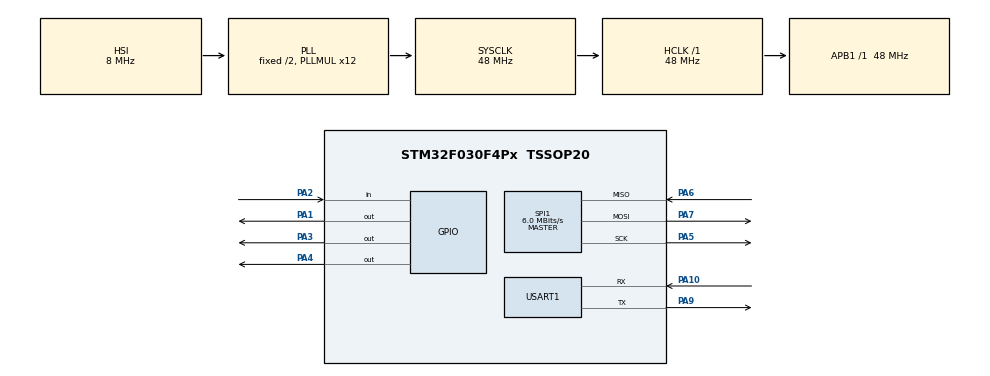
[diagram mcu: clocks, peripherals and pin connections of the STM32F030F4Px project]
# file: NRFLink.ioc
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Mcu.Family=STM32F0
Mcu.Name=STM32F030F4Px
Mcu.Package=TSSOP20
NVIC.USART1_IRQn=true\:2\:0\:true\:false\:true\:true\:true
PA1.GPIO_PuPd=GPIO_PULLUP
PA1.GPIO_Speed=GPIO_SPEED_FREQ_MEDIUM
PA1.PinState=GPIO_PIN_SET
PA1.Signal=GPIO_Output
PA10.Mode=Asynchronous
PA10.Signal=USART1_RX
PA13.Mode=Serial_Wire
PA13.Signal=SYS_SWDIO
PA14.Mode=Serial_Wire
PA14.Signal=SYS_SWCLK
PA2.GPIO_PuPd=GPIO_PULLUP
PA2.Signal=GPIO_Input
PA3.GPIO_ModeDefaultOutputPP=GPIO_MODE_OUTPUT_PP
PA3.GPIO_PuPd=GPIO_NOPULL
PA3.GPIO_Speed=GPIO_SPEED_FREQ_HIGH
PA3.PinState=GPIO_PIN_SET
PA3.Signal=GPIO_Output
PA4.GPIO_ModeDefaultOutputPP=GPIO_MODE_OUTPUT_PP
PA4.GPIO_PuPd=GPIO_NOPULL
PA4.GPIO_Speed=GPIO_SPEED_FREQ_HIGH
PA4.PinState=GPIO_PIN_SET
PA4.Signal=GPIO_Output
PA5.Mode=Full_Duplex_Master
PA5.Signal=SPI1_SCK
PA6.Mode=Full_Duplex_Master
PA6.Signal=SPI1_MISO
PA7.Mode=Full_Duplex_Master
PA7.Signal=SPI1_MOSI
PA9.Mode=Asynchronous
PA9.Signal=USART1_TX
ProjectManager.HeapSize=0x200
ProjectManager.StackSize=0x400
ProjectManager.TargetToolchain=MDK-ARM V5
RCC.AHBFreq_Value=48000000
RCC.APB1Freq_Value=48000000
RCC.APB1TimFreq_Value=48000000
RCC.HCLKFreq_Value=48000000
RCC.PLLMUL=RCC_PLL_MUL12
RCC.SYSCLKFreq_VALUE=48000000
RCC.SYSCLKSource=RCC_SYSCLKSOURCE_PLLCLK
SPI1.BaudRatePrescaler=SPI_BAUDRATEPRESCALER_8
SPI1.CRCCalculation=SPI_CRCCALCULATION_DISABLE
SPI1.CalculateBaudRate=6.0 MBits/s
SPI1.DataSize=SPI_DATASIZE_8BIT
SPI1.Direction=SPI_DIRECTION_2LINES
SPI1.Mode=SPI_MODE_MASTER
SPI1.VirtualType=VM_MASTER
USART1.VirtualMode-Asynchronous=VM_ASYNC
board=custom

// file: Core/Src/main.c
/* USER CODE BEGIN Header */
/**
  ******************************************************************************
  * @file           : main.c
  * @brief          : Main program body
  ******************************************************************************
  * @attention
  *
  * <h2><center>&copy; Copyright (c) 2023 STMicroelectronics.
  * All rights reserved.</center></h2>
  *
  * This software component is licensed by ST under BSD 3-Clause license,
  * the "License"; You may not use this file except in compliance with the
  * License. You may obtain a copy of the License at:
  *                        opensource.org/licenses/BSD-3-Clause
  *
  ******************************************************************************
  */
/* USER CODE END Header */
#include "main.h"
#include "spi.h"
#include "usart.h"
#include "gpio.h"

/* USER CODE BEGIN Includes */
#include "nrf24l01.h"
#include "stdio.h"
/* USER CODE END Includes */

void SystemClock_Config(void);

/* USER CODE BEGIN 0 */
#define RX_BUFF_LEN  32
uint8_t rxBuff[RX_BUFF_LEN]={0};//定义一个全局变量

void HAL_UART_RxCpltCallback(UART_HandleTypeDef *huart)
{
    if(huart->Instance == USART1)//假如有串口1触发接收中断
    {
	   HAL_UART_Receive_IT(&huart1,rxBuff,32);
       HAL_UART_Transmit(&huart1,rxBuff,sizeof(rxBuff),100);
    }

}

int16_t check_nrf = 0;
uint8_t check_rx = 0;
uint8_t nrf_test[32] = {0};
uint8_t nrf_tx_buff[32] ="hello world";

/* USER CODE END 0 */

int main(void)
{

  /* MCU Configuration--------------------------------------------------------*/

  /* Reset of all peripherals, Initializes the Flash interface and the Systick. */
  HAL_Init();

  /* Configure the system clock */
  SystemClock_Config();

  /* Initialize all configured peripherals */
  MX_GPIO_Init();
  MX_SPI1_Init();
  MX_USART1_UART_Init();
  /* USER CODE BEGIN 2 */
	__HAL_UART_ENABLE_IT(&huart1,UART_IT_RXNE);
	HAL_UART_Receive_IT(&huart1,rxBuff,32);
	NRF24L01_Init();
	check_nrf = NRF24L01_Check();
	NRF24L01_RX_Mode();
  /* USER CODE END 2 */

  /* Infinite loop */
  while (1)
  {

    /* USER CODE BEGIN 3 */
//	  NRF24L01_TxPacket(nrf_tx_buff);
//	  HAL_Delay(1000);
	if(NRF24L01_RxPacket(nrf_test)==0)//一旦接收到信息,则发送出来.
	{
		HAL_UART_Transmit(&huart1,nrf_test,sizeof(nrf_test),100);

	}
	PAout(2) = 0;
	HAL_Delay(1000);
	PAout(2) = 1;
	HAL_Delay(1000);
//	printf("hello\r\n");
	//HAL_Delay(20);
  }
  /* USER CODE END 3 */
}

void SystemClock_Config(void)
{
  RCC_OscInitTypeDef RCC_OscInitStruct = {0};
  RCC_ClkInitTypeDef RCC_ClkInitStruct = {0};
  RCC_PeriphCLKInitTypeDef PeriphClkInit = {0};

  /** Initializes the RCC Oscillators according to the specified parameters
  * in the RCC_OscInitTypeDef structure.
  */
  RCC_OscInitStruct.OscillatorType = RCC_OSCILLATORTYPE_HSI;
  RCC_OscInitStruct.HSIState = RCC_HSI_ON;
  RCC_OscInitStruct.HSICalibrationValue = RCC_HSICALIBRATION_DEFAULT;
  RCC_OscInitStruct.PLL.PLLState = RCC_PLL_ON;
  RCC_OscInitStruct.PLL.PLLSource = RCC_PLLSOURCE_HSI;
  RCC_OscInitStruct.PLL.PLLMUL = RCC_PLL_MUL12;
  RCC_OscInitStruct.PLL.PREDIV = RCC_PREDIV_DIV1;
  if (HAL_RCC_OscConfig(&RCC_OscInitStruct) != HAL_OK)
  {
    Error_Handler();
  }
  /** Initializes the CPU, AHB and APB buses clocks
  */
  RCC_ClkInitStruct.ClockType = RCC_CLOCKTYPE_HCLK|RCC_CLOCKTYPE_SYSCLK
                              |RCC_CLOCKTYPE_PCLK1;
  RCC_ClkInitStruct.SYSCLKSource = RCC_SYSCLKSOURCE_PLLCLK;
  RCC_ClkInitStruct.AHBCLKDivider = RCC_SYSCLK_DIV1;
  RCC_ClkInitStruct.APB1CLKDivider = RCC_HCLK_DIV1;

  if (HAL_RCC_ClockConfig(&RCC_ClkInitStruct, FLASH_LATENCY_1) != HAL_OK)
  {
    Error_Handler();
  }
  PeriphClkInit.PeriphClockSelection = RCC_PERIPHCLK_USART1;
  PeriphClkInit.Usart1ClockSelection = RCC_USART1CLKSOURCE_PCLK1;
  if (HAL_RCCEx_PeriphCLKConfig(&PeriphClkInit) != HAL_OK)
  {
    Error_Handler();
  }
}

void Error_Handler(void)
{
}

/************************ (C) COPYRIGHT STMicroelectronics *****END OF FILE****/
